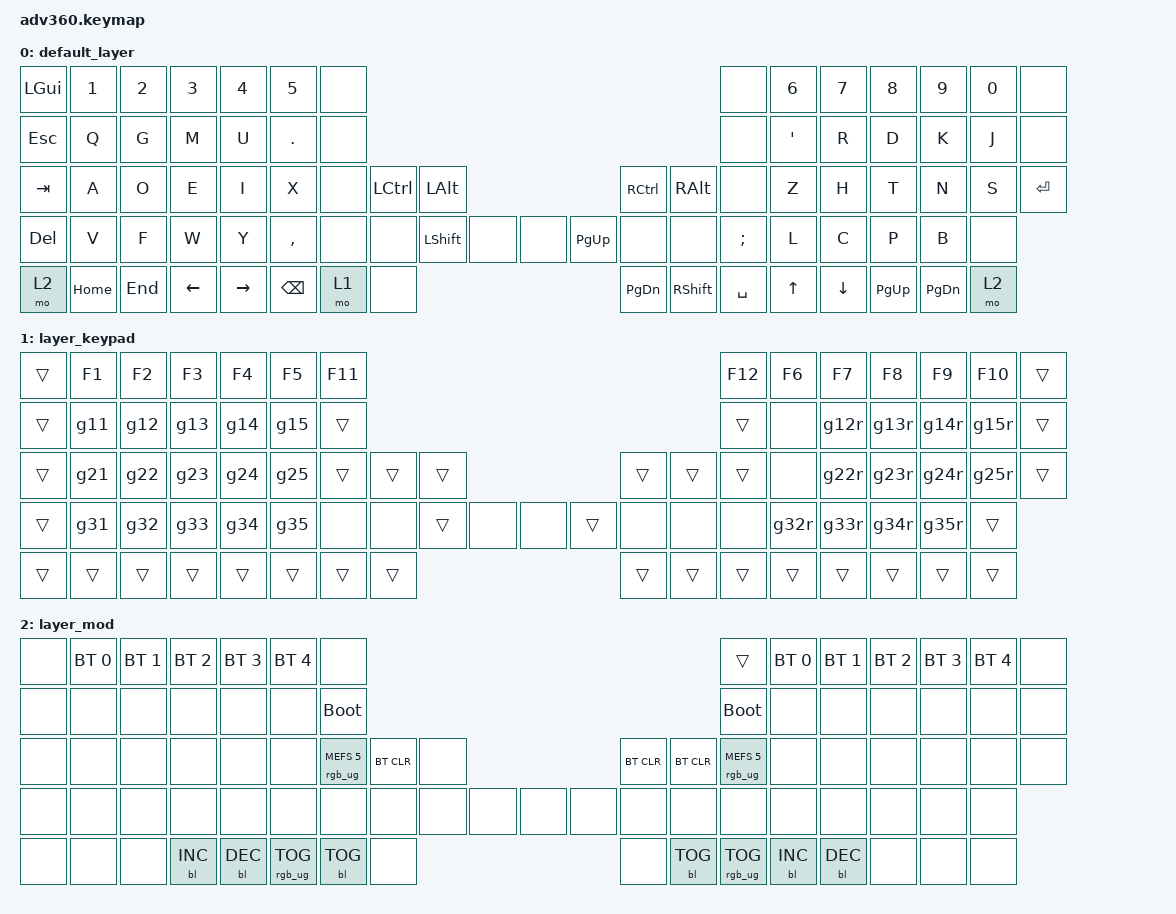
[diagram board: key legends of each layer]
/*
 * Copyright (c) 2020 The ZMK Contributors
 * SPDX-License-Identifier: MIT
 */

#include <behaviors.dtsi>
#include <dt-bindings/zmk/keys.h>
#include <dt-bindings/zmk/bt.h>
#include <dt-bindings/zmk/rgb.h>
#include <dt-bindings/zmk/backlight.h>

/ {
  behaviors {
    #include "macros.dtsi"

    hm: homerow_mods {
        compatible = "zmk,behavior-hold-tap";
        label = "HOMEROW_MODS";
        #binding-cells = <2>;
        tapping-term-ms = <200>;
        quick_tap_ms = <175>;
        flavor = "tap-preferred";
        bindings = <&kp>, <&kp>;
    };

    g11: star_none   { compatible = "zmk,behavior-mod-morph"; label = "STAR_BLANK";     #binding-cells = <0>; bindings = <&kp STAR>,      <&none>;      mods = <(MOD_LSFT|MOD_RSFT)>; };
    g12: n9_hash     { compatible = "zmk,behavior-mod-morph"; label = "N9_HASH";        #binding-cells = <0>; bindings = <&kp N9>,        <&kp HASH>;   mods = <(MOD_LSFT|MOD_RSFT)>; };
    g13: n8_pct      { compatible = "zmk,behavior-mod-morph"; label = "N8_PERCENT";     #binding-cells = <0>; bindings = <&kp N8>,        <&kp PRCNT>;  mods = <(MOD_LSFT|MOD_RSFT)>; };
    g14: n7_at       { compatible = "zmk,behavior-mod-morph"; label = "N7_AT";          #binding-cells = <0>; bindings = <&kp N7>,        <&kp AT>;     mods = <(MOD_LSFT|MOD_RSFT)>; };
    g15: slash_none  { compatible = "zmk,behavior-mod-morph"; label = "SLASH_BLANK";    #binding-cells = <0>; bindings = <&kp SLASH>,     <&none>;      mods = <(MOD_LSFT|MOD_RSFT)>; };

    g21: n3_qmark    { compatible = "zmk,behavior-mod-morph"; label = "N3_QMARK";       #binding-cells = <0>; bindings = <&kp N3>,        <&kp QMARK>;  mods = <(MOD_LSFT|MOD_RSFT)>; };
    g22: n2_excl     { compatible = "zmk,behavior-mod-morph"; label = "N2_EXCL";        #binding-cells = <0>; bindings = <&kp N2>,        <&kp EXCL>;   mods = <(MOD_LSFT|MOD_RSFT)>; };
    g23: n1_lpar     { compatible = "zmk,behavior-mod-morph"; label = "N1_LPAR";        #binding-cells = <0>; bindings = <&kp N1>,        <&kp LPAR>;   mods = <(MOD_LSFT|MOD_RSFT)>; };
    g24: n0_rpar     { compatible = "zmk,behavior-mod-morph"; label = "N0_LPAR";        #binding-cells = <0>; bindings = <&kp N0>,        <&kp RPAR>;   mods = <(MOD_LSFT|MOD_RSFT)>; };
    g25: dot_none    { compatible = "zmk,behavior-mod-morph"; label = "DOT_BLANK";      #binding-cells = <0>; bindings = <&kp DOT>,       <&none>;      mods = <(MOD_LSFT|MOD_RSFT)>; };

    g31: plus_none   { compatible = "zmk,behavior-mod-morph"; label = "PLUS_BLANK";     #binding-cells = <0>; bindings = <&kp PLUS>,      <&none>;      mods = <(MOD_LSFT|MOD_RSFT)>; };
    g32: n6_none     { compatible = "zmk,behavior-mod-morph"; label = "N6_BLANK";       #binding-cells = <0>; bindings = <&kp N6>,        <&none>;      mods = <(MOD_LSFT|MOD_RSFT)>; };
    g33: n5_dllr     { compatible = "zmk,behavior-mod-morph"; label = "N5_DLLR";        #binding-cells = <0>; bindings = <&kp N5>,        <&kp DLLR>;   mods = <(MOD_LSFT|MOD_RSFT)>; };
    g34: n4_amps     { compatible = "zmk,behavior-mod-morph"; label = "N4_AMPS";        #binding-cells = <0>; bindings = <&kp N4>,        <&kp AMPS>;   mods = <(MOD_LSFT|MOD_RSFT)>; };
    g35: minus_none  { compatible = "zmk,behavior-mod-morph"; label = "MINUS_BLANK";    #binding-cells = <0>; bindings = <&kp MINUS>,     <&none>;      mods = <(MOD_LSFT|MOD_RSFT)>; };

    g12r: lt_lbkt    { compatible = "zmk,behavior-mod-morph"; label = "LT_LBKT";        #binding-cells = <0>; bindings = <&kp LT>,        <&kp LBKT>;   mods = <(MOD_LSFT|MOD_RSFT)>; };
    g13r: gt_rbkt    { compatible = "zmk,behavior-mod-morph"; label = "GT_RBKT";        #binding-cells = <0>; bindings = <&kp GT>,        <&kp RBKT>;   mods = <(MOD_LSFT|MOD_RSFT)>; };
    g14r: eq_none    { compatible = "zmk,behavior-mod-morph"; label = "EQ_BLANK";       #binding-cells = <0>; bindings = <&kp EQUAL>,     <&none>;      mods = <(MOD_LSFT|MOD_RSFT)>; };
    g15r: pipe_none  { compatible = "zmk,behavior-mod-morph"; label = "PIPE_BLANK";     #binding-cells = <0>; bindings = <&kp PIPE>,      <&none>;      mods = <(MOD_LSFT|MOD_RSFT)>; };

    g22r: dot_col    { compatible = "zmk,behavior-mod-morph"; label = "DOT_COLON";      #binding-cells = <0>; bindings = <&kp DOT>,       <&kp COLON>;  mods = <(MOD_LSFT|MOD_RSFT)>; };
    g23r: com_sem    { compatible = "zmk,behavior-mod-morph"; label = "COMMA_SEMI";     #binding-cells = <0>; bindings = <&kp COMMA>,     <&kp SEMI>;   mods = <(MOD_LSFT|MOD_RSFT)>; };
    g24r: sqt_dqt    { compatible = "zmk,behavior-mod-morph"; label = "SQT_DQT";        #binding-cells = <0>; bindings = <&kp SQT>,       <&kp DQT>;    mods = <(MOD_LSFT|MOD_RSFT)>; };
    g25r: min_und    { compatible = "zmk,behavior-mod-morph"; label = "MINUS_UNDER";    #binding-cells = <0>; bindings = <&kp MINUS>,     <&kp UNDER>;  mods = <(MOD_LSFT|MOD_RSFT)>; };
    
    g32r: lbrc_car   { compatible = "zmk,behavior-mod-morph"; label = "LBRC_CARET";     #binding-cells = <0>; bindings = <&kp LBRC>,      <&kp CARET>;  mods = <(MOD_LSFT|MOD_RSFT)>; };
    g33r: rbrc_tld   { compatible = "zmk,behavior-mod-morph"; label = "RBRC_TILDE";     #binding-cells = <0>; bindings = <&kp RBRC>,      <&kp TILDE>;  mods = <(MOD_LSFT|MOD_RSFT)>; };
    g34r: slsh_grv   { compatible = "zmk,behavior-mod-morph"; label = "SLASH_GRAVE";    #binding-cells = <0>; bindings = <&kp SLASH>,     <&kp GRAVE>;  mods = <(MOD_LSFT|MOD_RSFT)>; };
    g35r: bslh_none  { compatible = "zmk,behavior-mod-morph"; label = "BSLH_BLANK";     #binding-cells = <0>; bindings = <&kp BSLH>,      <&none>;      mods = <(MOD_LSFT|MOD_RSFT)>; };
  };

    keymap {
        compatible = "zmk,keymap";

        default_layer {
            bindings = <
 &kp LGUI  &kp N1  &kp N2    &kp N3     &kp N4     &kp N5  &none                                                                                 &none    &kp N6   &kp N7     &kp N8   &kp N9   &kp N0      &none
  &kp ESC   &kp Q   &kp G     &kp M      &kp U    &kp DOT  &none                                                                                 &none   &kp SQT    &kp R      &kp D    &kp K    &kp J      &none
  &kp TAB   &kp A   &kp O     &kp E      &kp I      &kp X  &none            &kp LCTRL   &kp LALT               &kp RCTRL   &kp RALT              &none     &kp Z    &kp H      &kp T    &kp N    &kp S  &kp ENTER
  &kp DEL   &kp V   &kp F     &kp W      &kp Y  &kp COMMA            &none      &none  &kp LSHFT  &none &none  &kp PG_UP      &none      &none          &kp SEMI    &kp L      &kp C    &kp P    &kp B      &none
    &mo 2 &kp HOME &kp END &kp LEFT  &kp RIGHT                     &kp BSPC     &mo 1      &none               &kp PG_DN  &kp RSHFT  &kp SPACE                     &kp UP   &kp DOWN &kp PG_UP &kp PG_DN    &mo 2
            >;
        };

        layer_keypad {
            bindings = <
 &trans  &kp F1   &kp F2    &kp F3    &kp F4  &kp F5   &kp F11                                                                        &kp F12  &kp F6    &kp F7    &kp F8  &kp F9  &kp F10  &trans
 &trans    &g11     &g12      &g13      &g14    &g15    &trans                                                                         &trans   &none     &g12r     &g13r   &g14r    &g15r  &trans
 &trans    &g21     &g22      &g23      &g24    &g25    &trans           &trans  &trans                   &trans  &trans               &trans   &none     &g22r     &g23r   &g24r    &g25r  &trans
 &trans    &g31     &g32      &g33      &g34    &g35              &none   &none  &trans   &none   &none   &trans  &none    &none                &none     &g32r     &g33r   &g34r    &g35r  &trans
 &trans  &trans   &trans    &trans    &trans                     &trans  &trans  &trans                   &trans  &trans  &trans                         &trans    &trans  &trans   &trans  &trans
            >;
        };

        layer_mod {
            bindings = <
  &none  &bt BT_SEL 0  &bt BT_SEL 1  &bt BT_SEL 2  &bt BT_SEL 3  &bt BT_SEL 4                   &none                                                                                                                     &trans  &bt BT_SEL 0  &bt BT_SEL 1  &bt BT_SEL 2  &bt BT_SEL 3  &bt BT_SEL 4   &none
  &none         &none         &none         &none         &none         &none             &bootloader                                                                                                                &bootloader         &none         &none         &none         &none         &none   &none
  &none         &none         &none         &none         &none         &none  &rgb_ug RGB_MEFS_CMD 5                     &bt BT_CLR   &none                 &bt BT_CLR    &bt BT_CLR                     &rgb_ug RGB_MEFS_CMD 5         &none         &none         &none         &none         &none   &none
  &none         &none         &none         &none         &none         &none                                     &none        &none   &none  &none   &none       &none         &none            &none                                   &none         &none         &none         &none         &none   &none
  &none         &none         &none    &bl BL_INC    &bl BL_DEC                                         &rgb_ug RGB_TOG   &bl BL_TOG   &none                      &none    &bl BL_TOG  &rgb_ug RGB_TOG                                            &bl BL_INC    &bl BL_DEC         &none         &none   &none
            >;
        };

    };
};
